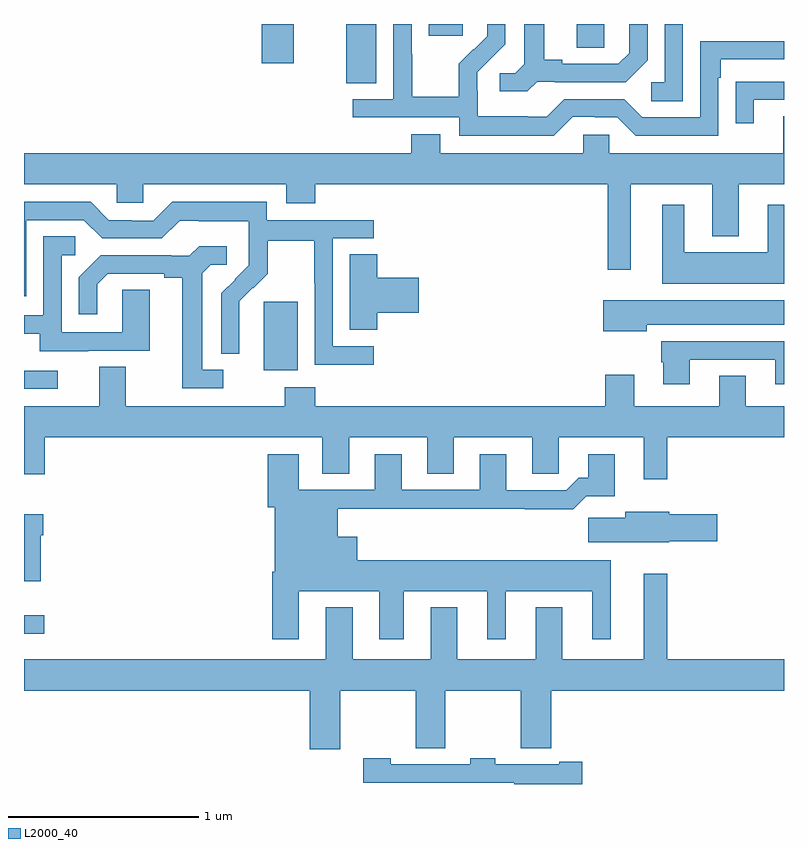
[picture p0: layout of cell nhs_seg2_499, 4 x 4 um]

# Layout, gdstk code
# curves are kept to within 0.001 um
import gdstk
lib = gdstk.Library(unit=1e-6, precision=1e-09)
def R(c, l, rs):  # rectangles x0, y0, x1, y1
    for r in rs: c.add(gdstk.rectangle(r[:2], r[2:], *l))
def P(c, l, *ps):  # polygons
    for p in ps: c.add(gdstk.Polygon(p, *l))
L2000_40 = (2000, 40)

nhs_seg2_499 = lib.new_cell('nhs_seg2_499')
R(nhs_seg2_499, L2000_40, [(135,658.592,135.106,658.689), (135,659.88,135.178,659.976), (136.262,659.978,136.441,660.339), (136.697,661.489,136.855,661.8), (136.25,661.593,136.42,661.8), (137.909,661.675,138.054,661.8), (137.129,661.737,137.308,661.8)])
P(nhs_seg2_499, L2000_40, [(137.7,661.497),(137.794,661.497),(137.794,661.494),(138.166,661.494),(138.282,661.61),(138.282,661.8),(138.185,661.8),(138.185,661.647),(138.128,661.59),(137.833,661.59),(137.833,661.613),(137.737,661.613),(137.737,661.8),(137.633,661.8),(137.633,661.589),(137.586,661.542),(137.505,661.542),(137.505,661.445),(137.648,661.445)],
  [(137.889,661.311),(138.005,661.311),(138.005,661.308),(138.123,661.308),(138.219,661.212),(138.654,661.212),(138.654,661.517),(138.667,661.517),(138.667,661.614),(139,661.614),(139,661.71),(138.558,661.71),(138.558,661.308),(138.255,661.308),(138.159,661.404),(137.844,661.404),(137.751,661.311),(137.651,661.311),(137.651,661.315),(137.388,661.315),(137.388,661.449),(137.386,661.449),(137.386,661.546),(137.532,661.694),(137.532,661.8),(137.438,661.8),(137.438,661.736),(137.367,661.665),(137.364,661.668),(137.287,661.591),(137.287,661.417),(137.043,661.417),(137.043,661.64),(137.04,661.64),(137.04,661.8),(136.944,661.8),(136.944,661.404),(136.731,661.404),(136.731,661.308),(137.292,661.308),(137.292,661.211),(137.789,661.211)],
  [(138.468,661.8),(138.372,661.8),(138.372,661.494),(138.3,661.494),(138.3,661.393),(138.468,661.393)],
  [(138.841,661.401),(139,661.401),(139,661.497),(138.847,661.497),(138.847,661.496),(138.745,661.496),(138.745,661.278),(138.841,661.278)],
  [(138.193,660.956),(138.623,660.956),(138.623,660.683),(138.763,660.683),(138.763,660.956),(139,660.956),(139,661.315),(138.995,661.315),(138.995,661.12),(138.081,661.12),(138.081,661.218),(137.943,661.218),(137.943,661.12),(137.191,661.12),(137.191,661.219),(137.039,661.219),(137.039,661.12),(135,661.12),(135,660.956),(135.489,660.956),(135.489,660.858),(135.627,660.858),(135.627,660.956),(136.379,660.956),(136.379,660.857),(136.532,660.857),(136.532,660.956),(138.072,660.956),(138.072,660.507),(138.193,660.507)],
  [(136.84,660.105),(136.626,660.105),(136.626,660.672),(136.84,660.672),(136.84,660.768),(136.278,660.768),(136.278,660.865),(135.781,660.865),(135.681,660.765),(135.566,660.765),(135.566,660.768),(135.447,660.768),(135.351,660.864),(135,660.864),(135,660.366),(135.012,660.366),(135.012,660.768),(135.315,660.768),(135.411,660.672),(135.726,660.672),(135.819,660.765),(135.919,660.765),(135.919,660.761),(136.182,660.761),(136.182,660.627),(136.184,660.627),(136.184,660.53),(136.038,660.382),(136.038,660.064),(136.134,660.064),(136.133,660.341),(136.203,660.411),(136.206,660.408),(136.283,660.485),(136.283,660.66),(136.528,660.66),(136.528,660.436),(136.53,660.436),(136.53,660.007),(136.84,660.007)],
  [(139,660.85),(138.914,660.85),(138.914,660.598),(138.475,660.598),(138.475,660.85),(138.359,660.85),(138.359,660.434),(139,660.434)],
  [(135.337,660.081),(135.661,660.081),(135.661,660.401),(135.516,660.401),(135.516,660.177),(135.198,660.177),(135.198,660.582),(135.271,660.582),(135.271,660.683),(135.102,660.683),(135.102,660.267),(135,660.267),(135,660.171),(135.083,660.171),(135.083,660.077),(135.337,660.077)],
  [(136.048,659.979),(135.937,659.979),(135.937,660.487),(135.984,660.534),(136.066,660.534),(136.066,660.631),(135.922,660.631),(135.87,660.579),(135.776,660.579),(135.776,660.582),(135.404,660.582),(135.288,660.466),(135.288,660.273),(135.385,660.273),(135.385,660.429),(135.442,660.486),(135.737,660.486),(135.737,660.464),(135.833,660.464),(135.833,659.883),(136.048,659.883)],
  [(136.859,660.281),(137.077,660.281),(137.077,660.464),(136.859,660.464),(136.859,660.587),(136.715,660.587),(136.715,660.19),(136.859,660.19)],
  [(138.277,660.218),(139,660.218),(139,660.346),(138.048,660.346),(138.048,660.182),(138.277,660.182)],
  [(138.505,660.033),(138.953,660.033),(138.953,659.904),(139,659.904),(139,660.129),(138.353,660.129),(138.353,660.021),(138.365,660.021),(138.365,659.904),(138.505,659.904)],
  [(138.385,659.624),(139,659.624),(139,659.788),(138.799,659.788),(138.799,659.948),(138.659,659.948),(138.659,659.788),(138.211,659.788),(138.211,659.953),(138.059,659.953),(138.059,659.788),(136.532,659.788),(136.532,659.887),(136.372,659.887),(136.372,659.788),(135.535,659.788),(135.535,659.996),(135.395,659.996),(135.395,659.788),(135,659.788),(135,659.43),(135.11,659.43),(135.11,659.624),(136.571,659.624),(136.571,659.434),(136.711,659.434),(136.711,659.624),(137.123,659.624),(137.123,659.434),(137.263,659.434),(137.263,659.624),(137.675,659.624),(137.675,659.434),(137.814,659.434),(137.814,659.624),(138.263,659.624),(138.263,659.403),(138.385,659.403)],
  [(136.447,658.814),(136.871,658.814),(136.871,658.563),(136.999,658.563),(136.999,658.814),(137.438,658.814),(137.438,658.563),(137.536,658.563),(137.536,658.814),(137.99,658.814),(137.99,658.563),(138.088,658.563),(138.088,658.978),(136.753,658.978),(136.753,659.101),(136.651,659.101),(136.651,659.248),(137.635,659.248),(137.635,659.246),(137.891,659.246),(137.96,659.315),(138.109,659.315),(138.109,659.536),(137.969,659.536),(137.969,659.413),(137.92,659.413),(137.853,659.346),(137.539,659.346),(137.539,659.536),(137.399,659.536),(137.399,659.349),(136.987,659.349),(136.987,659.536),(136.847,659.536),(136.847,659.349),(136.447,659.349),(136.447,659.536),(136.283,659.536),(136.283,659.256),(136.319,659.256),(136.319,658.918),(136.307,658.918),(136.307,658.563),(136.447,658.563)],
  [(138.396,659.078),(138.649,659.078),(138.649,659.22),(138.396,659.22),(138.396,659.233),(138.164,659.233),(138.164,659.201),(137.97,659.201),(137.97,659.072),(138.396,659.072)],
  [(135.088,659.108),(135.101,659.108),(135.101,659.221),(135,659.221),(135,658.868),(135.088,658.868)],
  [(136.665,658.292),(137.062,658.292),(137.062,657.988),(137.216,657.988),(137.216,658.292),(137.614,658.292),(137.614,657.988),(137.774,657.988),(137.774,658.292),(139,658.292),(139,658.456),(138.385,658.456),(138.385,658.906),(138.263,658.906),(138.263,658.456),(137.833,658.456),(137.833,658.729),(137.693,658.729),(137.693,658.456),(137.281,658.456),(137.281,658.729),(137.141,658.729),(137.141,658.456),(136.729,658.456),(136.729,658.729),(136.589,658.729),(136.589,658.456),(135,658.456),(135,658.292),(136.505,658.292),(136.505,657.984),(136.665,657.984)],
  [(137.939,657.916),(137.816,657.916),(137.816,657.903),(137.481,657.903),(137.481,657.936),(137.349,657.936),(137.349,657.903),(136.929,657.903),(136.929,657.936),(136.785,657.936),(136.785,657.807),(137.581,657.807),(137.581,657.8),(137.939,657.8)])

lib.write_gds('nhs_seg2_499.gds')
